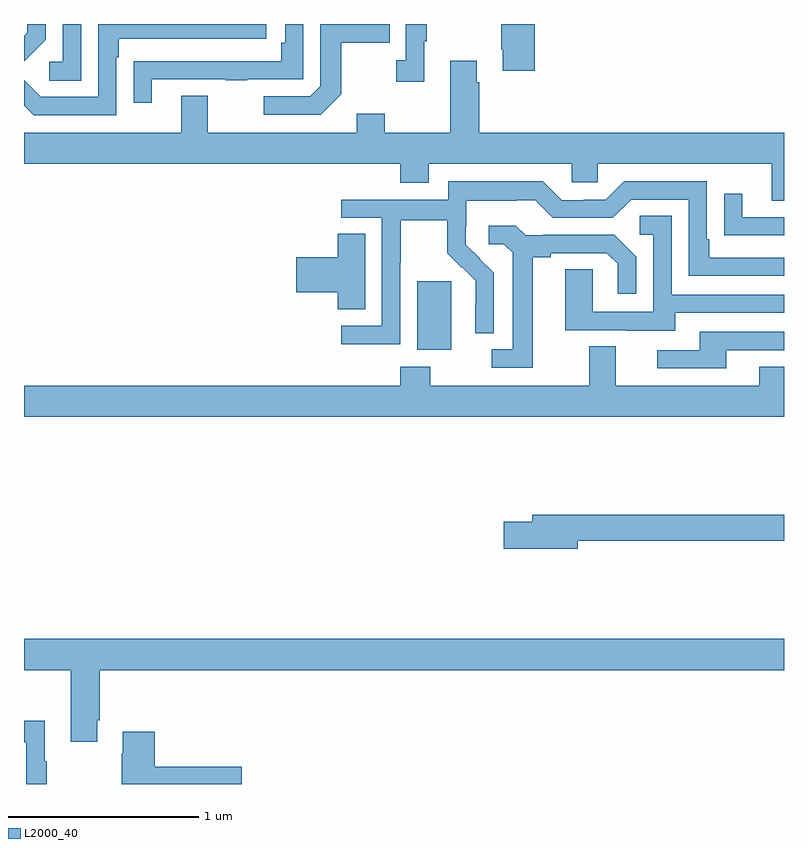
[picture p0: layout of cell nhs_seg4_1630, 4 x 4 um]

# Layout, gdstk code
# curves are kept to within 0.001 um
import gdstk
lib = gdstk.Library(unit=1e-6, precision=1e-09)
def R(c, l, rs):  # rectangles x0, y0, x1, y1
    for r in rs: c.add(gdstk.rectangle(r[:2], r[2:], *l))
def P(c, l, *ps):  # polygons
    for p in ps: c.add(gdstk.Polygon(p, *l))
L2000_40 = (2000, 40)

nhs_seg4_1630 = lib.new_cell('nhs_seg4_1630')
R(nhs_seg4_1630, L2000_40, [(197.069,785.186,197.248,785.547)])
P(nhs_seg4_1630, L2000_40, [(197.687,786.9),(197.512,786.9),(197.512,786.766),(197.519,786.766),(197.519,786.654),(197.687,786.654)],
  [(197.107,786.809),(197.119,786.809),(197.119,786.9),(197.01,786.9),(197.01,786.71),(196.959,786.71),(196.959,786.597),(197.107,786.597)],
  [(195.486,786.725),(195.499,786.725),(195.499,786.822),(196.276,786.822),(196.276,786.9),(195.39,786.9),(195.39,786.516),(195.087,786.516),(195,786.603),(195,786.471),(195.051,786.42),(195.486,786.42)],
  [(195.3,786.9),(195.204,786.9),(195.204,786.702),(195.132,786.702),(195.132,786.601),(195.3,786.601)],
  [(195.114,786.818),(195.114,786.9),(195.017,786.9),(195.017,786.855),(195,786.838),(195,786.704)],
  [(196.669,786.529),(196.669,786.802),(196.925,786.802),(196.925,786.9),(196.56,786.9),(196.56,786.573),(196.506,786.519),(196.263,786.519),(196.263,786.423),(196.563,786.423)],
  [(195.673,786.609),(196.063,786.609),(196.063,786.604),(196.175,786.604),(196.175,786.609),(196.47,786.609),(196.47,786.9),(196.374,786.9),(196.374,786.802),(196.354,786.802),(196.354,786.705),(195.679,786.705),(195.679,786.704),(195.577,786.704),(195.577,786.486),(195.673,786.486)],
  [(199,786.328),(197.396,786.328),(197.396,786.593),(197.383,786.593),(197.383,786.706),(197.243,786.706),(197.243,786.328),(196.899,786.328),(196.899,786.427),(196.751,786.427),(196.751,786.328),(195.967,786.328),(195.967,786.523),(195.827,786.523),(195.827,786.328),(195,786.328),(195,786.164),(196.979,786.164),(196.979,786.065),(197.131,786.065),(197.131,786.164),(197.883,786.164),(197.883,786.066),(198.021,786.066),(198.021,786.164),(198.935,786.164),(198.935,785.97),(199,785.97)],
  [(196.98,785.644),(196.983,785.644),(196.983,785.868),(197.227,785.868),(197.227,785.693),(197.304,785.616),(197.307,785.619),(197.378,785.549),(197.378,785.426),(197.376,785.426),(197.376,785.272),(197.472,785.272),(197.472,785.59),(197.326,785.738),(197.326,785.835),(197.328,785.835),(197.328,785.969),(197.591,785.969),(197.591,785.973),(197.691,785.973),(197.784,785.88),(198.099,785.88),(198.195,785.976),(198.498,785.976),(198.498,785.574),(199,785.574),(199,785.67),(198.607,785.67),(198.607,785.767),(198.594,785.767),(198.594,786.072),(198.159,786.072),(198.063,785.976),(197.945,785.976),(197.945,785.973),(197.829,785.973),(197.729,786.073),(197.232,786.073),(197.232,785.976),(196.671,785.976),(196.671,785.88),(196.884,785.88),(196.884,785.313),(196.671,785.313),(196.671,785.215),(196.98,785.215)],
  [(199,785.883),(198.781,785.883),(198.781,786.007),(198.685,786.007),(198.685,785.788),(198.787,785.788),(198.787,785.787),(199,785.787)],
  [(198.427,785.379),(199,785.379),(199,785.475),(198.408,785.475),(198.408,785.891),(198.24,785.891),(198.24,785.79),(198.312,785.79),(198.312,785.385),(197.994,785.385),(197.994,785.609),(197.849,785.609),(197.849,785.289),(198.173,785.289),(198.173,785.285),(198.427,785.285)],
  [(197.677,785.672),(197.773,785.672),(197.773,785.694),(198.068,785.694),(198.125,785.637),(198.125,785.481),(198.222,785.481),(198.222,785.674),(198.106,785.79),(197.734,785.79),(197.734,785.787),(197.64,785.787),(197.588,785.839),(197.445,785.839),(197.445,785.742),(197.526,785.742),(197.573,785.695),(197.573,785.187),(197.463,785.187),(197.463,785.091),(197.677,785.091)],
  [(196.795,785.795),(196.652,785.795),(196.652,785.672),(196.434,785.672),(196.434,785.489),(196.652,785.489),(196.652,785.398),(196.795,785.398)],
  [(198.697,785.184),(199,785.184),(199,785.28),(198.557,785.28),(198.557,785.184),(198.333,785.184),(198.333,785.088),(198.697,785.088)],
  [(199,785.095),(198.869,785.095),(198.869,784.996),(198.115,784.996),(198.115,785.204),(197.975,785.204),(197.975,784.996),(197.139,784.996),(197.139,785.095),(196.979,785.095),(196.979,784.996),(195,784.996),(195,784.832),(199,784.832)],
  [(197.914,784.18),(199,784.18),(199,784.316),(197.675,784.316),(197.675,784.28),(197.526,784.28),(197.526,784.138),(197.914,784.138)],
  [(195.385,783.235),(195.398,783.235),(195.398,783.5),(199,783.5),(199,783.664),(195,783.664),(195,783.5),(195.245,783.5),(195.245,783.123),(195.385,783.123)],
  [(195.121,783.019),(195.109,783.019),(195.109,783.232),(195,783.232),(195,783.119),(195.012,783.119),(195.012,782.9),(195.121,782.9)],
  [(196.147,782.99),(195.689,782.99),(195.689,783.175),(195.521,783.175),(195.521,783.062),(195.514,783.062),(195.514,782.9),(196.147,782.9)])

lib.write_gds('nhs_seg4_1630.gds')
